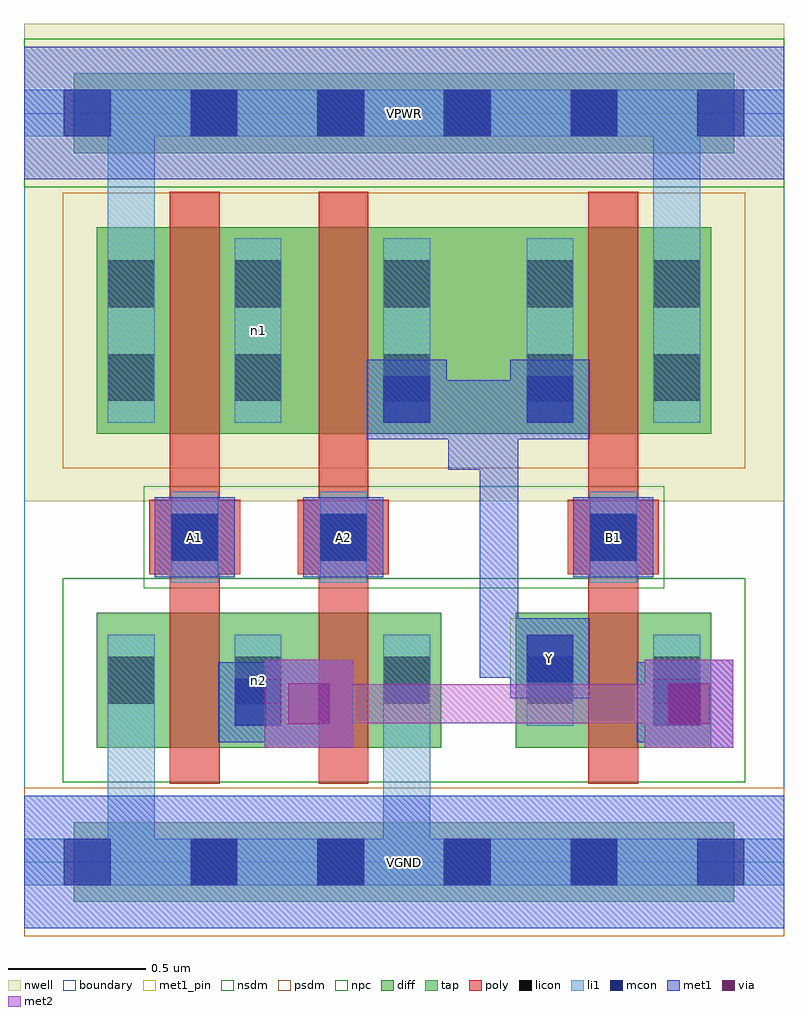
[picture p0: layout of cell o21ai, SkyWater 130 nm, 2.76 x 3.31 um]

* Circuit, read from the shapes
.subckt o21ai A1 A2 B1 VGND VPWR Y n1 n2
XM1 n2 A1 VGND VGND sky130_fd_pr__nfet_01v8 w=0.49 l=0.18
XM2 VGND A2 n2 VGND sky130_fd_pr__nfet_01v8 w=0.49 l=0.18
XM3 n2 B1 Y VGND sky130_fd_pr__nfet_01v8 w=0.49 l=0.18
XM4 n1 A1 VPWR VPWR sky130_fd_pr__pfet_01v8 w=0.75 l=0.18
XM5 Y A2 n1 VPWR sky130_fd_pr__pfet_01v8 w=0.75 l=0.18
XM6 VPWR B1 Y VPWR sky130_fd_pr__pfet_01v8 w=0.75 l=0.18
.ends

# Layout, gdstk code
import gdstk
lib = gdstk.Library(unit=1e-6, precision=1e-09)
def R(c, l, rs):  # rectangles x0, y0, x1, y1
    for r in rs: c.add(gdstk.rectangle(r[:2], r[2:], *l))
def A(c, l, x, y, w, h, nx, ny, dx, dy):  # array of equal rectangles
    R(c, l, [(x+i*dx, y+j*dy, x+i*dx+w, y+j*dy+h) for i in range(nx) for j in range(ny)])
nwell = (64, 20)
diff = (65, 20)
tap = (65, 44)
poly = (66, 20)
licon = (66, 44)
li1 = (67, 20)
mcon = (67, 44)
met1_pin = (68, 16)
met1 = (68, 20)
via = (68, 44)
met2 = (69, 20)
nsdm = (93, 44)
psdm = (94, 20)
npc = (95, 20)
boundary = (235, 4)

o21ai = lib.new_cell('o21ai')
R(o21ai, nwell, [(0,1.31,2.76,3.045)])
R(o21ai, diff, [(0.265,0.415,1.515,0.905), (1.785,0.415,2.495,0.905), (0.265,1.555,2.495,2.305)])
R(o21ai, tap, [(0.18,-0.145,2.58,0.145), (0.18,2.575,2.58,2.865)])
R(o21ai, poly, [(0.53,0.285,0.71,2.435), (1.07,0.285,1.25,2.435), (2.05,0.285,2.23,2.435), (0.455,1.045,0.785,1.315), (0.995,1.045,1.325,1.315), (1.975,1.045,2.305,1.315)])
A(o21ai, licon, 0.605, -0.085, 0.17, 0.17, 4, 2, 0.46, 2.72)
R(o21ai, licon, [(0.305,0.575,0.475,0.745), (0.765,0.575,0.935,0.745), (1.305,0.575,1.475,0.745), (1.825,0.575,1.995,0.745), (2.285,0.575,2.455,0.745), (0.535,1.095,0.705,1.265), (1.075,1.095,1.245,1.265), (2.055,1.095,2.225,1.265), (0.305,1.675,0.475,1.845), (0.765,1.675,0.935,1.845), (1.305,1.675,1.475,1.845), (1.825,1.675,1.995,1.845), (2.285,1.675,2.455,1.845), (0.305,2.015,0.475,2.185), (0.765,2.015,0.935,2.185), (1.305,2.015,1.475,2.185), (1.825,2.015,1.995,2.185), (2.285,2.015,2.455,2.185)])
R(o21ai, li1, [(0,-0.085,2.76,0.085), (0.305,-0.085,0.475,0.825), (1.305,-0.085,1.475,0.825), (0.305,0.495,0.475,0.825), (0.765,0.495,0.935,0.825), (1.305,0.495,1.475,0.825), (1.825,0.495,1.995,0.825), (2.285,0.495,2.455,0.825), (0.535,1.015,0.705,1.345), (1.075,1.015,1.245,1.345), (2.055,1.015,2.225,1.345), (0.305,1.595,0.475,2.265), (0.305,1.595,0.475,2.805), (0.765,1.595,0.935,2.265), (1.305,1.595,1.475,2.265), (1.825,1.595,1.995,2.265), (2.285,1.595,2.455,2.265), (2.285,1.595,2.455,2.805), (0,2.635,2.76,2.805)])
A(o21ai, mcon, 0.145, -0.085, 0.17, 0.17, 6, 2, 0.46, 2.72)
R(o21ai, mcon, [(0.765,0.495,0.935,0.665), (2.285,0.495,2.455,0.665), (1.825,0.655,1.995,0.825), (0.535,1.095,0.705,1.265), (1.075,1.095,1.245,1.265), (2.055,1.095,2.225,1.265), (1.305,1.595,1.475,1.765), (1.825,1.595,1.995,1.765)])
R(o21ai, met1_pin, [(0,-0.24,2.76,0.24), (1.765,0.595,2.055,0.885), (0.475,1.035,0.765,1.325), (1.015,1.035,1.305,1.325), (1.995,1.035,2.285,1.325), (0,2.48,2.76,2.96)])
R(o21ai, met1, [(0,-0.24,2.76,0.24), (0.875,0.415,1.195,0.735), (2.255,0.415,2.575,0.735), (0.705,0.435,0.995,0.725), (2.225,0.435,2.515,0.725), (0.965,0.505,1.105,0.65), (2.345,0.505,2.485,0.65), (0.78,0.51,1.105,0.65), (2.3,0.51,2.485,0.65), (1.765,0.595,2.055,0.885), (1.655,0.67,1.98,0.81), (1.655,0.67,1.795,0.99), (1.655,0.85,1.795,1.565), (0.475,1.035,0.765,1.325), (1.015,1.035,1.305,1.325), (1.995,1.035,2.285,1.325), (1.54,1.425,1.795,1.565), (1.54,1.425,1.68,1.68), (1.655,1.425,1.795,1.75), (1.245,1.535,1.535,1.825), (1.535,1.535,1.655,1.75), (1.535,1.535,1.655,1.565), (1.535,1.535,1.54,1.565), (1.535,1.535,1.54,1.68), (1.765,1.535,2.055,1.825), (1.425,1.54,1.565,1.75), (1.425,1.54,1.68,1.68), (1.565,1.54,1.655,1.75), (1.32,1.61,1.565,1.75), (1.535,1.61,1.655,1.75), (1.565,1.61,1.655,1.75), (1.655,1.61,1.98,1.75), (0,2.48,2.76,2.96)])
R(o21ai, via, [(0.96,0.5,1.11,0.65), (2.34,0.5,2.49,0.65)])
R(o21ai, met2, [(0.875,0.415,1.195,0.735), (2.255,0.415,2.575,0.735), (0.965,0.505,2.485,0.645)])
R(o21ai, nsdm, [(0.14,0.29,2.62,1.03), (0,2.45,2.76,2.99)])
R(o21ai, psdm, [(0,-0.27,2.76,0.27), (0.14,1.43,2.62,2.43)])
R(o21ai, npc, [(0.435,0.995,2.325,1.365)])
R(o21ai, boundary, [(0,0,2.76,2.72)])
o21ai.add(gdstk.Label('n1', (0.85,1.93), layer=67, texttype=5))
o21ai.add(gdstk.Label('n2', (0.85,0.66), layer=67, texttype=5))
o21ai.add(gdstk.Label('A1', (0.62,1.18), layer=68, texttype=5))
o21ai.add(gdstk.Label('A2', (1.16,1.18), layer=68, texttype=5))
o21ai.add(gdstk.Label('B1', (2.14,1.18), layer=68, texttype=5))
o21ai.add(gdstk.Label('Y', (1.91,0.74), layer=68, texttype=5))
o21ai.add(gdstk.Label('VPWR', (1.38,2.72), layer=68, texttype=5))
o21ai.add(gdstk.Label('VGND', (1.38,0), layer=68, texttype=5))
o21ai.add(gdstk.Label('A1', (0.62,1.18), layer=68, texttype=16))
o21ai.add(gdstk.Label('A2', (1.16,1.18), layer=68, texttype=16))
o21ai.add(gdstk.Label('B1', (2.14,1.18), layer=68, texttype=16))
o21ai.add(gdstk.Label('Y', (1.91,0.74), layer=68, texttype=16))
o21ai.add(gdstk.Label('VPWR', (1.38,2.72), layer=68, texttype=16))
o21ai.add(gdstk.Label('VGND', (1.38,0), layer=68, texttype=16))

lib.write_gds('o21ai.gds')
